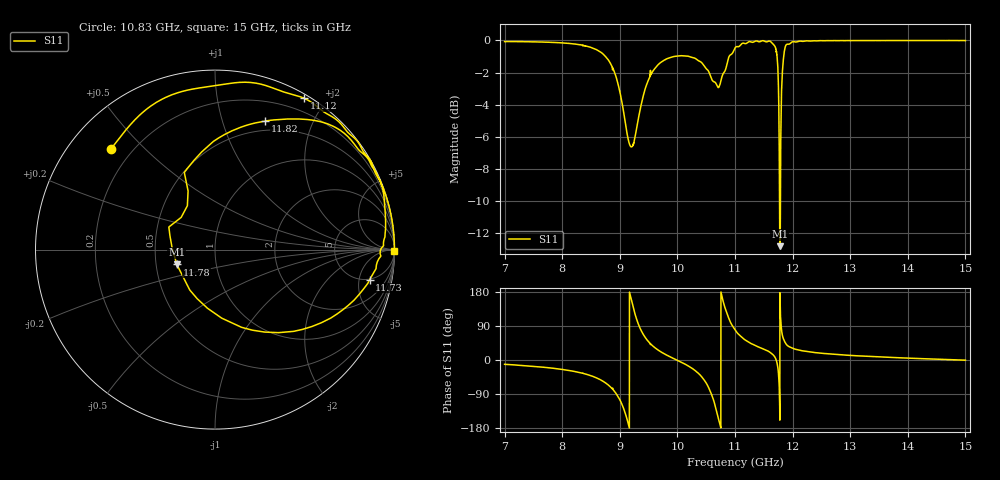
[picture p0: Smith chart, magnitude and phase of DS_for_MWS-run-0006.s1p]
! TOUCHSTONE file generated by CST DESIGN STUDIO
! Date and time: Mon Feb 10 16:55:53 2025
! Project name: C:\Work\MatlabApps\UnitCellType2OptimizationMatlab\CST\unitcell.cst
! Tree item: Tasks\Sweep1\SPara1\S-Parameters
! Header version: 2024
! Port assignment regex: !\s*Touchstone port\s*([0-9]+)\s*=\s*(CST MWS port|CST DES external port|CST DES block port)\s*(.+)\s* \(\"(.*)\"\)(\s*mode\s*([0-9]+))?.*
! Touchstone port assignment:
! Touchstone port 1 = CST DES external port 1 ("")
# GHz S MA R 50
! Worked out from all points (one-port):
!   4001 points, 7 GHz to 15 GHz, reference 50 ohm
!   lowest |S11| = -12.8 dB at 11.78 GHz (marker M1), VSWR 1.59, Z = 32.1 - j5.62 ohm
!   |S11| at or under -10 dB: 11.77266 GHz to 11.78883 GHz (16.17 MHz wide, 0.137 % of centre)
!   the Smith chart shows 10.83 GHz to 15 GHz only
!   S11 on the Smith chart (normalised r, x): 10.83 GHz: 0.12, +0.40; 11.12 GHz: 0.04, +1.75; 11.73 GHz: 4.85, -7.11; 11.78 GHz: 0.64, -0.11; 11.82 GHz: 0.40, +1.39; 15 GHz: open
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7  0.992 -11.3
8  0.9827 -24.9
8.636  0.9268 -50.0
8.866  0.8249 -75.2
9  0.6925 -104.9
9.17  0.4738 177.9
9.27  0.5062 118.3
9.362  0.6194 80.5
9.616  0.8206 31.6
10  0.894 -0.9
10.372  0.8634 -36.2
10.588  0.7625 -89.2
10.656  0.7402 -120.8
10.73  0.7206 -165.2
10.83  0.8064 136.1
10.906  0.8965 104.8
11  0.9474 79.9
11.122  0.9784 59.5
11.6  0.9955 21.1
11.698  0.9541 6.1
11.734  0.8781 -11.0
11.778  0.2282 -158.7
11.818  0.7688 68.7
11.882  0.9648 43.3
12  0.991 31.0
13  0.9987 12.1
14  0.9998 5.0
15  0.9992 -0.5
